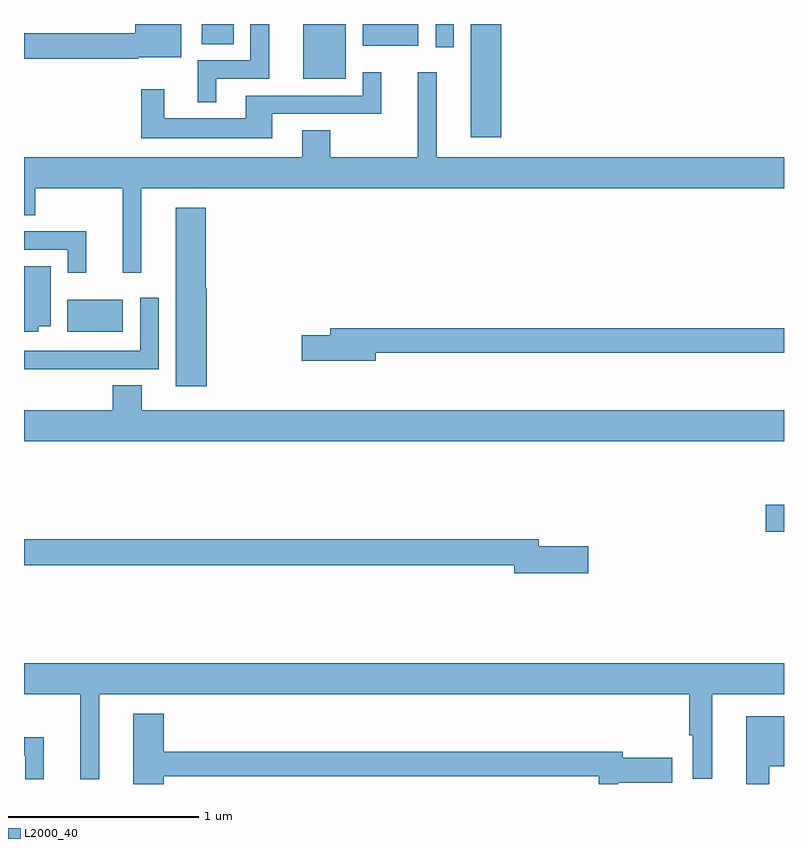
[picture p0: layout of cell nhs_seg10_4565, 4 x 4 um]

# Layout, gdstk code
import gdstk
lib = gdstk.Library(unit=1e-6, precision=1e-09)
def R(c, l, rs):  # rectangles x0, y0, x1, y1
    for r in rs: c.add(gdstk.rectangle(r[:2], r[2:], *l))
def P(c, l, *ps):  # polygons
    for p in ps: c.add(gdstk.Polygon(p, *l))
L2000_40 = (2000, 40)

nhs_seg10_4565 = lib.new_cell('nhs_seg10_4565')
R(nhs_seg10_4565, L2000_40, [(374.904,1311.827,375,1311.969), (371.228,1312.88,371.521,1313.05), (373.352,1313.904,373.511,1314.5), (372.47,1314.212,372.694,1314.5), (373.167,1314.378,373.263,1314.5), (372.782,1314.386,373.075,1314.5), (371.936,1314.394,372.103,1314.5)])
P(nhs_seg10_4565, L2000_40, [(372.013,1314.213),(372.29,1314.213),(372.29,1314.5),(372.192,1314.5),(372.192,1314.309),(371.915,1314.309),(371.915,1314.089),(372.013,1314.089)],
  [(371.601,1314.326),(371.827,1314.326),(371.827,1314.5),(371.585,1314.5),(371.585,1314.452),(371,1314.452),(371,1314.316),(371.601,1314.316)],
  [(371.618,1313.636),(375,1313.636),(375,1313.8),(373.172,1313.8),(373.172,1314.247),(373.073,1314.247),(373.073,1313.8),(372.612,1313.8),(372.612,1313.942),(372.464,1313.942),(372.464,1313.8),(371,1313.8),(371,1313.494),(371.058,1313.494),(371.058,1313.636),(371.519,1313.636),(371.519,1313.19),(371.618,1313.19)],
  [(372.307,1314.027),(372.881,1314.027),(372.881,1314.247),(372.783,1314.247),(372.783,1314.123),(372.167,1314.123),(372.167,1314.004),(371.737,1314.004),(371.737,1314.157),(371.616,1314.157),(371.616,1313.9),(372.307,1313.9)],
  [(371.962,1313.109),(371.957,1313.109),(371.957,1313.533),(371.798,1313.533),(371.798,1312.593),(371.962,1312.593)],
  [(371.327,1313.409),(371,1313.409),(371,1313.313),(371.229,1313.313),(371.229,1313.19),(371.327,1313.19)],
  [(371.074,1312.91),(371.14,1312.91),(371.14,1313.224),(371,1313.224),(371,1312.88),(371.074,1312.88)],
  [(371.384,1312.683),(371.709,1312.683),(371.709,1313.059),(371.613,1313.059),(371.613,1312.779),(371,1312.779),(371,1312.682),(371.384,1312.682)],
  [(372.85,1312.77),(375,1312.77),(375,1312.898),(372.611,1312.898),(372.611,1312.862),(372.462,1312.862),(372.462,1312.727),(372.85,1312.727)],
  [(375,1312.468),(371.62,1312.468),(371.62,1312.598),(371.468,1312.598),(371.468,1312.468),(371,1312.468),(371,1312.304),(375,1312.304)],
  [(373.969,1311.752),(373.708,1311.752),(373.708,1311.788),(371,1311.788),(371,1311.652),(373.58,1311.652),(373.58,1311.61),(373.969,1311.61)],
  [(371.396,1310.972),(374.502,1310.972),(374.502,1310.756),(374.519,1310.756),(374.519,1310.528),(374.623,1310.528),(374.623,1310.972),(375,1310.972),(375,1311.136),(371,1311.136),(371,1310.972),(371.297,1310.972),(371.297,1310.526),(371.396,1310.526)],
  [(371.735,1310.542),(374.024,1310.542),(374.024,1310.5),(374.128,1310.5),(374.128,1310.507),(374.413,1310.507),(374.413,1310.637),(374.152,1310.637),(374.152,1310.671),(371.735,1310.671),(371.735,1310.869),(371.576,1310.869),(371.576,1310.5),(371.735,1310.5)],
  [(374.923,1310.594),(375,1310.594),(375,1310.857),(374.801,1310.857),(374.801,1310.5),(374.923,1310.5)],
  [(371.105,1310.745),(371,1310.745),(371,1310.649),(371.007,1310.649),(371.007,1310.526),(371.105,1310.526)])

lib.write_gds('nhs_seg10_4565.gds')
